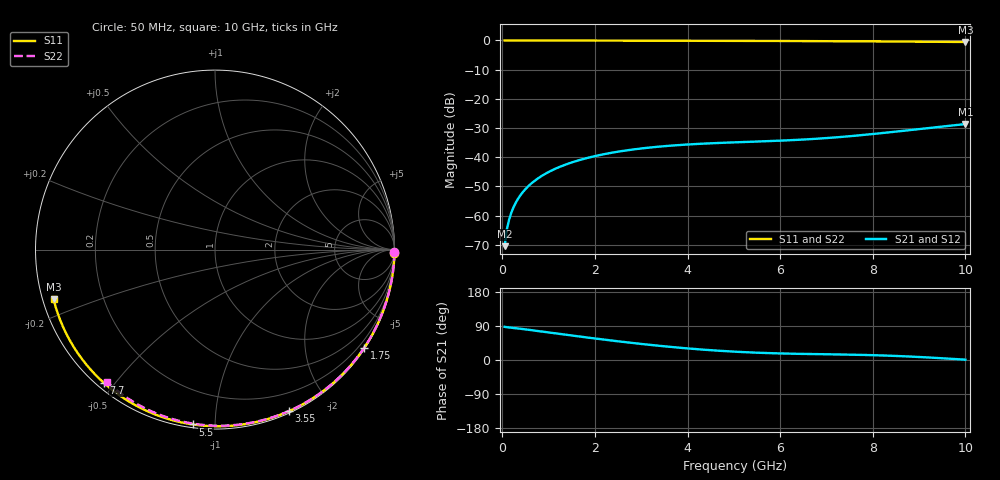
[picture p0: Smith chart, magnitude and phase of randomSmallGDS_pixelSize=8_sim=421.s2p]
! freq	dB(S11)	phase(S11)	dB(S12)	phase(S12)
!  dB(S21)	phase(S21)	dB(S22)	phase(S22)
!S-par simulation data
#  GHz  S  DB  R 50
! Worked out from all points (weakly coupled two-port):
!   200 points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, 50 MHz to 10 GHz, reference 50 ohm
!   highest |S21| = -28.65 dB at 10 GHz (marker M1); lowest = -70.5 dB at 50 MHz (marker M2)
!   lowest |S11| = -0.5 dB at 10 GHz (marker M3), VSWR 32.96, Z = 1.55 - j7.54 ohm
!   |S11| at or under -10 dB: nowhere
!   |S22| runs from -0.4 to 0.0 dB; largest |S21 - S12| = 0
!   S11 on the Smith chart (normalised r, x): 50 MHz: open; 1.75 GHz: 0.03, -3.34; 3.55 GHz: 0.02, -1.55; 5.5 GHz: 0.02, -0.88; 7.7 GHz: 0.02, -0.47; 10 GHz: 0.03, -0.15
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0.05  -0.00 -1.0  -70.48 87.6  -70.48 87.6  -0.00 -0.8
0.1  -0.00 -1.9  -64.64 86.5  -64.64 86.5  -0.00 -1.5
0.15  -0.00 -2.9  -61.22 85.8  -61.22 85.8  -0.00 -2.3
0.2  -0.00 -3.9  -58.78 85.2  -58.78 85.2  -0.00 -3.0
0.25  -0.00 -4.9  -56.87 84.6  -56.87 84.6  -0.00 -3.8
0.35  -0.01 -6.8  -53.99 83.1  -53.99 83.1  -0.00 -5.3
0.5  -0.01 -9.7  -50.94 80.8  -50.94 80.8  -0.01 -7.6
0.7  -0.02 -13.5  -48.07 77.6  -48.07 77.6  -0.01 -10.5
1  -0.02 -19.2  -45.07 72.7  -45.07 72.7  -0.02 -15.0
1.35  -0.03 -25.9  -42.63 67.0  -42.63 67.0  -0.03 -20.2
1.75  -0.04 -33.3  -40.61 60.7  -40.61 60.7  -0.03 -26.1
2.5  -0.06 -47.1  -38.10 49.3  -38.10 49.3  -0.05 -36.9
3.4  -0.08 -62.9  -36.36 37.3  -36.36 37.3  -0.07 -49.6
3.55  -0.09 -65.5  -36.15 35.5  -36.15 35.5  -0.07 -51.6
4.3  -0.11 -78.1  -35.39 27.6  -35.39 27.6  -0.09 -61.8
5.05  -0.14 -90.2  -34.89 21.8  -34.89 21.8  -0.11 -71.6
5.5  -0.16 -97.2  -34.64 19.3  -34.64 19.3  -0.13 -77.3
6.7  -0.22 -115.3  -33.76 15.6  -33.76 15.6  -0.18 -92.0
7.7  -0.29 -129.8  -32.53 13.7  -32.53 13.7  -0.23 -103.7
8.35  -0.35 -139.1  -31.49 11.4  -31.49 11.4  -0.28 -111.1
9.2  -0.43 -151.3  -30.03 6.7  -30.03 6.7  -0.35 -120.5
10  -0.53 -162.8  -28.65 0.8  -28.65 0.8  -0.43 -129.2
